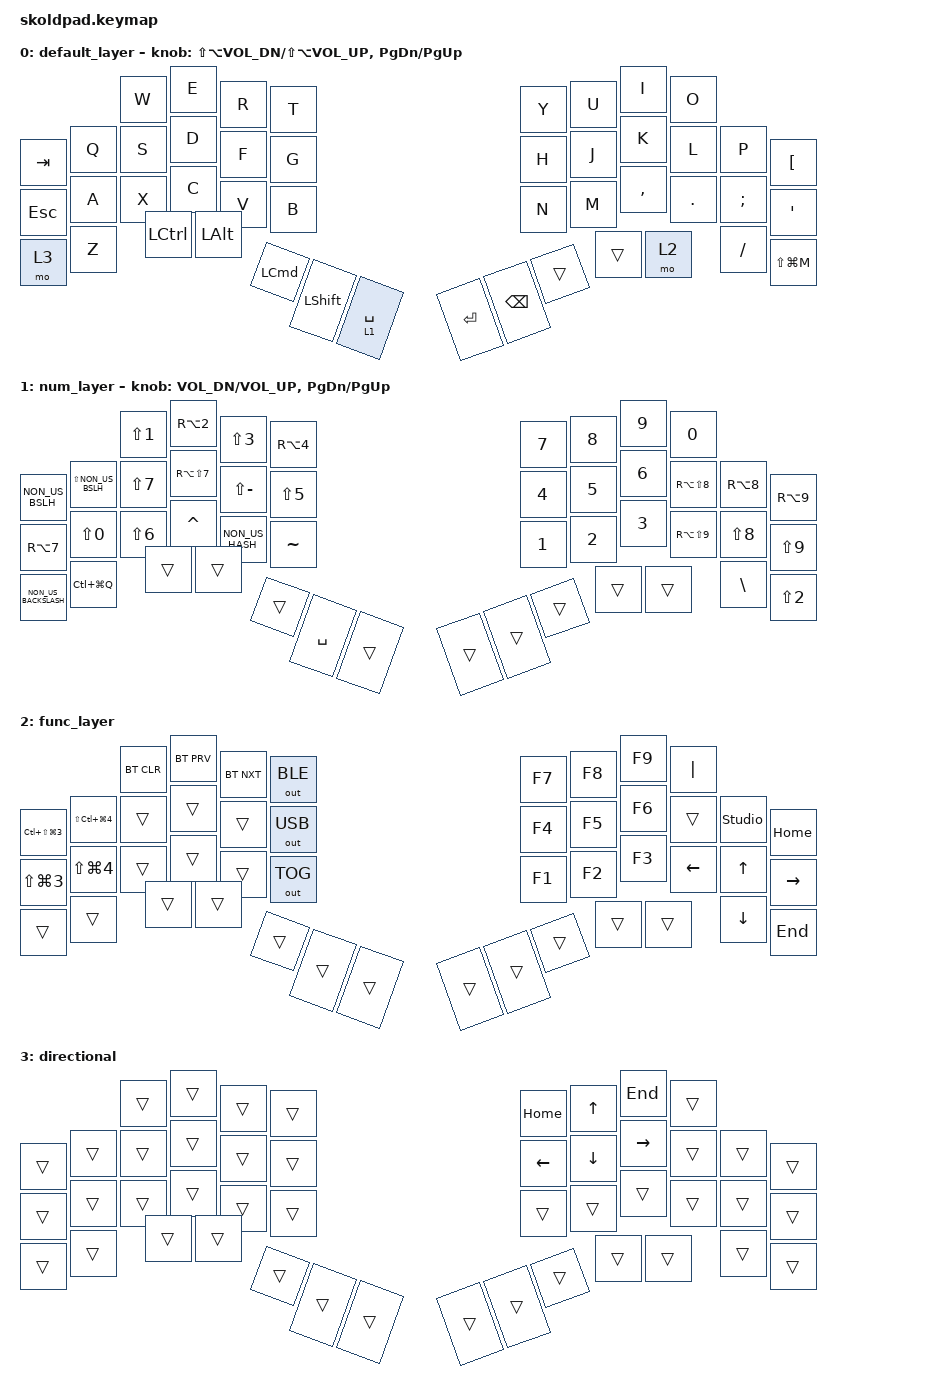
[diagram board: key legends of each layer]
#include <behaviors.dtsi>
#include <dt-bindings/zmk/bt.h>
#include <dt-bindings/zmk/keys.h>
#include <dt-bindings/zmk/outputs.h>

#define QWERTY 0
#define NUM 1
#define FUNC 2
#define DIR 3

// Symbol bindings for a macOS Swedish OS keyboard layout.
// ZMK emits US HID positions; macOS (set to Swedish) reinterprets them.
// å ä ö are produced directly on the base layer by the [ ; ' positions.
#define SWE_AT    RA(N2)        // @  = Option+2
#define SWE_DLLR  RA(N4)        // $  = Option+4
#define SWE_PIPE  RA(N7)        // |  = Option+7
#define SWE_BSLH  RA(LS(N7))    // \  = Shift+Option+7   (verify on device)
#define SWE_LBKT  RA(N8)        // [  = Option+8
#define SWE_RBKT  RA(N9)        // ]  = Option+9
#define SWE_LBRC  RA(LS(N8))    // {  = Shift+Option+8
#define SWE_RBRC  RA(LS(N9))    // }  = Shift+Option+9

/ {
    keymap {
        compatible = "zmk,keymap";

        default_layer {
            //label = "QWERTY";

            bindings = <
&kp TAB     &kp Q  &kp W      &kp E     &kp R  &kp T                                                                            &kp Y  &kp U   &kp I      &kp O    &kp P          &kp LEFT_BRACKET
&kp ESCAPE  &kp A  &kp S      &kp D     &kp F  &kp G                                                                            &kp H  &kp J   &kp K      &kp L    &kp SEMICOLON  &kp SINGLE_QUOTE
&mo 3       &kp Z  &kp X      &kp C     &kp V  &kp B                                                                            &kp N  &kp M   &kp COMMA  &kp DOT  &kp SLASH      &kp LS(LG(M))
                   &kp LCTRL  &kp LALT         &kp LEFT_COMMAND  &kp LEFT_SHIFT  &lt 1 SPACE  &kp ENTER  &kp BACKSPACE  &trans         &trans  &mo 2
            >;

            sensor-bindings =
                <&inc_dec_kp LS(LA(C_VOL_DN)) LS(LA(C_VOL_UP))>,
                <&inc_dec_kp PG_DN PG_UP>;
        };

        num_layer {
            //label = "QWERTY";

            bindings = <
&kp NON_US_BSLH       &kp LS(NON_US_BSLH)  &kp LS(N1)     &kp SWE_AT     &kp LS(N3)     &kp SWE_DLLR                                            &kp NUMBER_7  &kp N8        &kp NUMBER_9  &kp NUMBER_0     &kp SWE_LBKT          &kp SWE_RBKT
&kp SWE_PIPE          &kp LS(N0)           &kp LS(N7)     &kp SWE_BSLH   &kp LS(MINUS)  &kp LS(N5)                                              &kp NUMBER_4  &kp N5        &kp NUMBER_6  &kp SWE_LBRC     &kp LS(N8)            &kp LS(N9)
&kp NON_US_BACKSLASH  &kp LC(LG(Q))        &kp LS(N6)     &kp CARET      &kp NON_US_HASH &kp TILDE                                              &kp NUMBER_1  &kp NUMBER_2  &kp NUMBER_3  &kp SWE_RBRC     &kp BACKSLASH         &kp LS(N2)
                                        &trans         &trans                          &trans       &kp SPACE  &trans  &trans  &trans  &trans                &trans        &trans
            >;

            sensor-bindings = <&inc_dec_kp C_VOL_DN C_VOL_UP &inc_dec_kp PG_DN PG_UP>;
        };

        func_layer {
            bindings = <
&kp LC(LS(LG(NUMBER_3)))  &kp LS(LC(LG(NUMBER_4)))  &bt BT_CLR  &bt BT_PRV  &bt BT_NXT  &out OUT_BLE                                          &kp F7  &kp F8  &kp F9  &kp PIPE  &studio_unlock  &kp HOME
&kp LS(LG(NUMBER_3))      &kp LS(LG(NUMBER_4))      &trans      &trans      &trans      &out OUT_USB                                          &kp F4  &kp F5  &kp F6  &trans    &kp UP_ARROW    &kp RIGHT
&trans                    &trans                    &trans      &trans      &trans      &out OUT_TOG                                          &kp F1  &kp F2  &kp F3  &kp LEFT  &kp DOWN_ARROW  &kp END
                                                    &trans      &trans                  &trans        &trans  &trans  &trans  &trans  &trans          &trans  &trans
            >;
        };

        directional {
            bindings = <
&trans  &trans  &trans  &trans  &trans  &trans                                          &kp HOME  &kp UP_ARROW  &kp END    &trans  &trans  &trans
&trans  &trans  &trans  &trans  &trans  &trans                                          &kp LEFT  &kp DOWN      &kp RIGHT  &trans  &trans  &trans
&trans  &trans  &trans  &trans  &trans  &trans                                          &trans    &trans        &trans     &trans  &trans  &trans
                &trans  &trans          &trans  &trans  &trans  &trans  &trans  &trans            &trans        &trans
            >;
        };
    };
};
